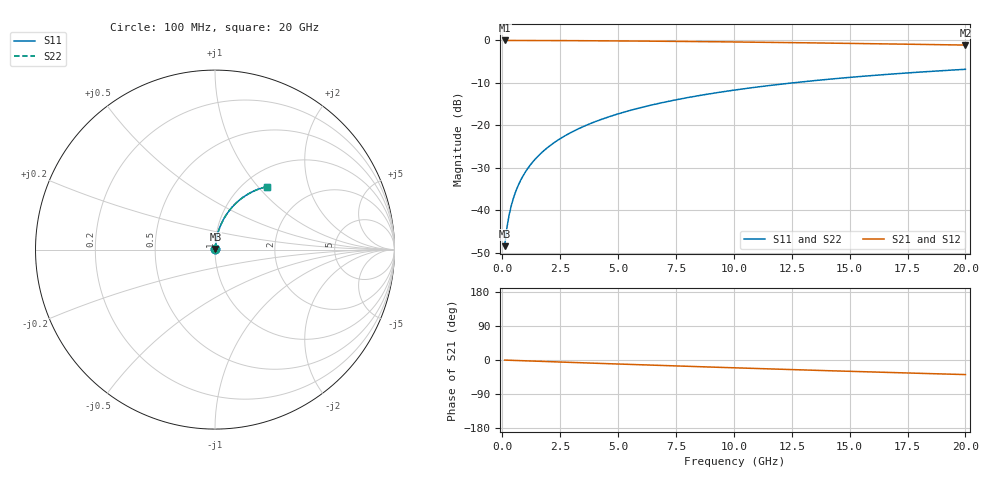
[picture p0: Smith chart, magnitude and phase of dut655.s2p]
! Touchstone file exported from HFSS 2026.1.0
!  File:  C:/ffzhzh/LocalFiles/Ansys_Project_Files/temp_train_TMRDL_655_1783009599_53980.aedt
!  Generated:  12:28:27 AM Jul  3, 2026
!  Design:  TMRDL
!  Project:  temp_train_TMRDL_655_1783009599_53980
! Variables:
!  h_bsmrdl = 2um
!  h_ox = 20um
!  h_rdl = 5um
!  h_sub = 80um
!  h_tmrdl = 5.53um
!  h_tsv = 80um
!  h_via = 3um
!  l_bsmrdl = 300um
!  l_sub = 870.92um
!  l_tmrdl = 470.92um
!  m_sub = 200um
!  pitch = 59.66um
!  r_tsv = 6um
!  s_tmrdl = 10um
!  w_bsmrdl = 18um
!  w_sub = 500um
!  w_tmrdl = 12.78um
!  x_tsv_center1 = 477.31um
!  x_tsv_center2 = 795.31um
!  x_tsv_center3 = 1279.01um
!  x_tsv_center4 = 1597.01um
!  x_tsv_center5 = 2080.71um
!  x_tsv_center6 = 2398.71um
# GHz S MA R 50.000000
! Terminal data exported
! Port[1] = TM_RDL1_1_T1
! Port[2] = TM_RDL1_1_T2
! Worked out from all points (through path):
!   200 points, 100 MHz to 20 GHz, reference 50 ohm
!   highest |S21| = -0.02 dB at 100 MHz (marker M1); lowest = -1.1 dB at 20 GHz (marker M2)
!   group delay of S21, straight-line fit = 5.35 ps
!   lowest |S11| = -48.5 dB at 100 MHz (marker M3), VSWR 1.01, Z = 50.2 + j0.288 ohm
!   |S11| at or under -10 dB: start of sweep to 12.57 GHz
!   |S22| runs from -48.5 to -6.8 dB; largest |S21 - S12| = 2.7e-15
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0.1  0.003757 49.6  0.9976 -0.2  0.9976 -0.2  0.003757 49.6
! Gamma 0 0 0 0
! Port Impedance 50 0 50 0
0.2  0.006229 66.2  0.9975 -0.4  0.9975 -0.4  0.006229 66.2
0.3  0.008901 72.8  0.9974 -0.7  0.9974 -0.7  0.008901 72.8
0.4  0.01162 76.3  0.9974 -0.9  0.9974 -0.9  0.01162 76.3
0.5  0.01437 78.4  0.9973 -1.1  0.9973 -1.1  0.01436 78.4
0.7  0.01988 80.7  0.9971 -1.5  0.9971 -1.5  0.01988 80.7
0.8  0.02264 81.3  0.997 -1.7  0.997 -1.7  0.02264 81.3
1  0.02818 82.1  0.9968 -2.2  0.9968 -2.2  0.02818 82.1
1.2  0.03372 82.5  0.9965 -2.6  0.9965 -2.6  0.03372 82.5
1.4  0.03925 82.6  0.9963 -3.0  0.9963 -3.0  0.03925 82.6
1.7  0.04754 82.6  0.9957 -3.7  0.9957 -3.7  0.04754 82.6
2  0.05579 82.3  0.9952 -4.3  0.9952 -4.3  0.05579 82.3
2.7  0.07491 81.4  0.9935 -5.8  0.9935 -5.8  0.07491 81.4
3.5  0.09648 80.0  0.9911 -7.5  0.9911 -7.5  0.09648 80.0
4.2  0.1151 78.7  0.9886 -8.9  0.9886 -8.9  0.1151 78.7
5  0.136 77.2  0.9854 -10.6  0.9854 -10.6  0.136 77.2
6.8  0.1819 73.7  0.977 -14.3  0.977 -14.3  0.1819 73.7
8.3  0.2188 70.9  0.9687 -17.3  0.9687 -17.3  0.2188 70.9
10.1  0.2613 67.5  0.9575 -20.8  0.9575 -20.8  0.2613 67.5
13.4  0.3339 61.5  0.934 -27.0  0.934 -27.0  0.3339 61.5
16.7  0.3988 55.8  0.9078 -32.9  0.9078 -32.9  0.3988 55.8
20  0.4561 50.3  0.8803 -38.5  0.8803 -38.5  0.4561 50.3
